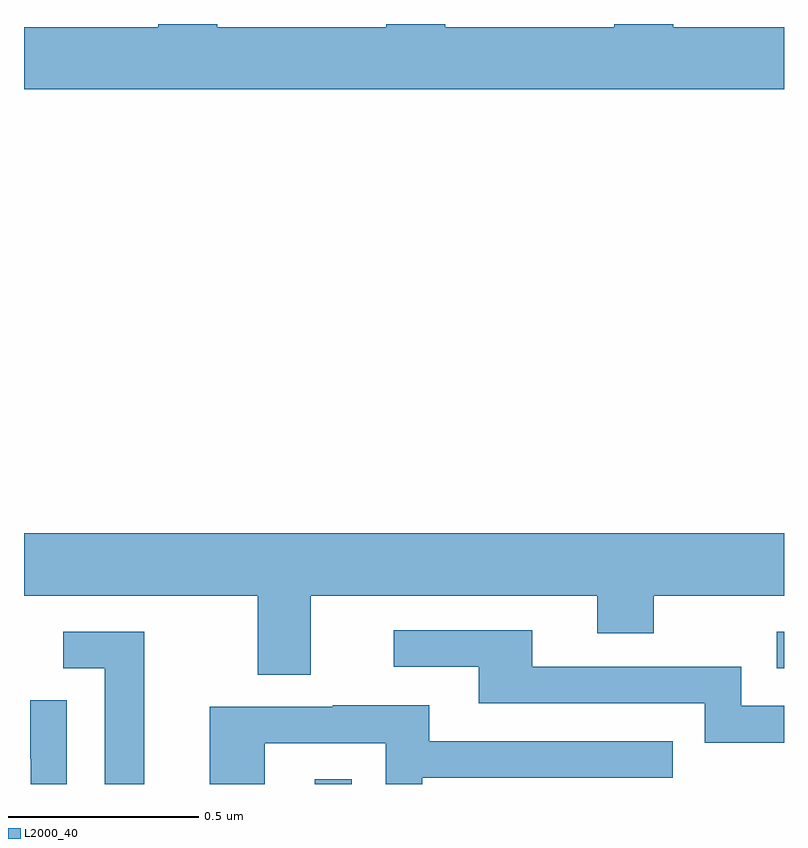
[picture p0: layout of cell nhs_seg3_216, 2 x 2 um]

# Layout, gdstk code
import gdstk
lib = gdstk.Library(unit=1e-6, precision=1e-09)
def R(c, l, rs):  # rectangles x0, y0, x1, y1
    for r in rs: c.add(gdstk.rectangle(r[:2], r[2:], *l))
def P(c, l, *ps):  # polygons
    for p in ps: c.add(gdstk.Polygon(p, *l))
L2000_40 = (2000, 40)

nhs_seg3_216 = lib.new_cell('nhs_seg3_216')
R(nhs_seg3_216, L2000_40, [(113.765,720.4,113.862,720.412), (114.981,720.705,115,720.801)])
P(nhs_seg3_216, L2000_40, [(115,722.392),(114.708,722.392),(114.708,722.4),(114.553,722.4),(114.553,722.392),(114.108,722.392),(114.108,722.4),(113.953,722.4),(113.953,722.392),(113.508,722.392),(113.508,722.4),(113.353,722.4),(113.353,722.392),(113,722.392),(113,722.228),(115,722.228)],
  [(113.755,720.896),(114.509,720.896),(114.509,720.797),(114.657,720.797),(114.657,720.896),(115,720.896),(115,721.06),(113,721.06),(113,720.896),(113.615,720.896),(113.615,720.688),(113.755,720.688)],
  [(115,720.606),(114.888,720.606),(114.888,720.708),(114.337,720.708),(114.337,720.804),(113.973,720.804),(113.973,720.708),(114.197,720.708),(114.197,720.612),(114.792,720.612),(114.792,720.509),(115,720.509)],
  [(113.317,720.801),(113.103,720.801),(113.103,720.705),(113.213,720.705),(113.213,720.4),(113.317,720.4)],
  [(113.112,720.62),(113.016,720.62),(113.016,720.466),(113.018,720.466),(113.018,720.4),(113.112,720.4)],
  [(113.634,720.507),(113.952,720.507),(113.952,720.4),(114.048,720.4),(114.048,720.417),(114.707,720.417),(114.707,720.513),(114.067,720.513),(114.067,720.607),(113.813,720.607),(113.813,720.603),(113.489,720.603),(113.489,720.4),(113.634,720.4)])

lib.write_gds('nhs_seg3_216.gds')
